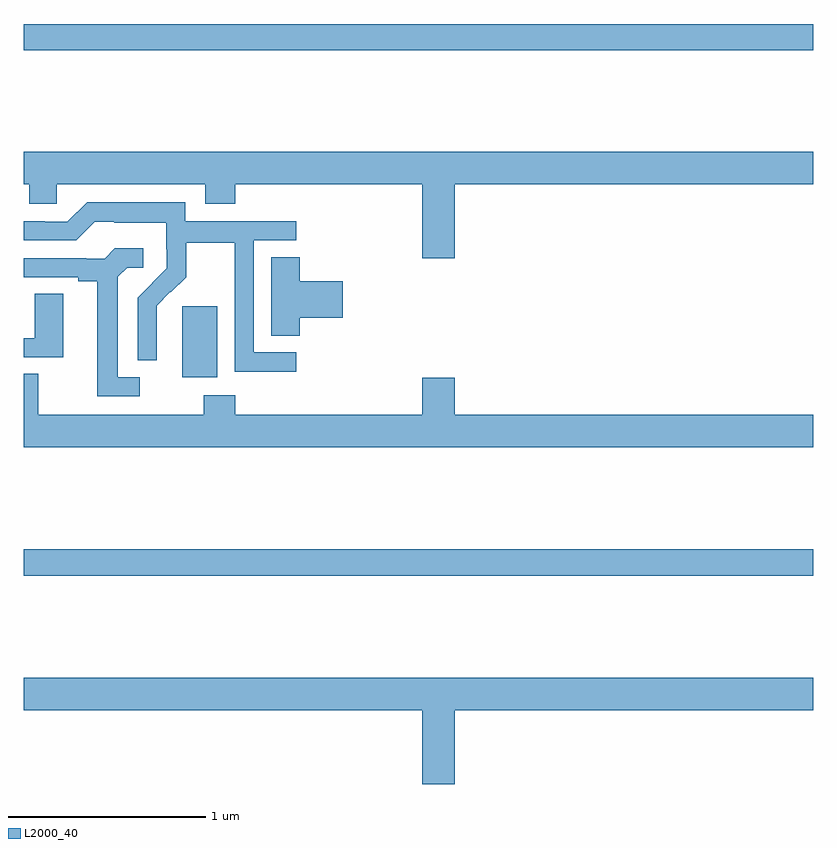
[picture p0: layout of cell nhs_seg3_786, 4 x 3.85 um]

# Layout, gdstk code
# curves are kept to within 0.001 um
import gdstk
lib = gdstk.Library(unit=1e-6, precision=1e-09)
def R(c, l, rs):  # rectangles x0, y0, x1, y1
    for r in rs: c.add(gdstk.rectangle(r[:2], r[2:], *l))
def P(c, l, *ps):  # polygons
    for p in ps: c.add(gdstk.Polygon(p, *l))
L2000_40 = (2000, 40)

nhs_seg3_786 = lib.new_cell('nhs_seg3_786')
R(nhs_seg3_786, L2000_40, [(151,693.604,155,693.74), (151.802,694.61,151.981,694.971), (151,696.268,155,696.4)])
P(nhs_seg3_786, L2000_40, [(153.184,695.588),(155,695.588),(155,695.752),(151,695.752),(151,695.588),(151.029,695.588),(151.029,695.49),(151.167,695.49),(151.167,695.588),(151.919,695.588),(151.919,695.489),(152.072,695.489),(152.072,695.588),(153.02,695.588),(153.02,695.214),(153.184,695.214)],
  [(152.38,694.737),(152.166,694.737),(152.166,695.304),(152.38,695.304),(152.38,695.4),(151.818,695.4),(151.818,695.497),(151.321,695.497),(151.221,695.397),(151.106,695.397),(151.106,695.4),(151,695.4),(151,695.304),(151.266,695.304),(151.359,695.397),(151.459,695.397),(151.459,695.393),(151.722,695.393),(151.722,695.259),(151.724,695.259),(151.724,695.162),(151.578,695.014),(151.578,694.696),(151.674,694.696),(151.673,694.973),(151.743,695.043),(151.746,695.04),(151.823,695.117),(151.823,695.292),(152.068,695.292),(152.068,695.068),(152.07,695.068),(152.07,694.639),(152.38,694.639)],
  [(151.588,694.611),(151.477,694.611),(151.477,695.119),(151.524,695.166),(151.606,695.166),(151.606,695.263),(151.462,695.263),(151.41,695.211),(151.316,695.211),(151.316,695.214),(151,695.214),(151,695.118),(151.277,695.118),(151.277,695.096),(151.373,695.096),(151.373,694.515),(151.588,694.515)],
  [(152.399,694.913),(152.617,694.913),(152.617,695.096),(152.399,695.096),(152.399,695.219),(152.255,695.219),(152.255,694.822),(152.399,694.822)],
  [(151.201,695.033),(151.056,695.033),(151.056,694.809),(151,694.809),(151,694.713),(151.201,694.713)],
  [(155,694.42),(153.184,694.42),(153.184,694.609),(153.02,694.609),(153.02,694.42),(152.072,694.42),(152.072,694.519),(151.912,694.519),(151.912,694.42),(151.075,694.42),(151.075,694.628),(151,694.628),(151,694.256),(155,694.256)],
  [(153.184,692.924),(155,692.924),(155,693.088),(151,693.088),(151,692.924),(153.02,692.924),(153.02,692.55),(153.184,692.55)])

lib.write_gds('nhs_seg3_786.gds')
